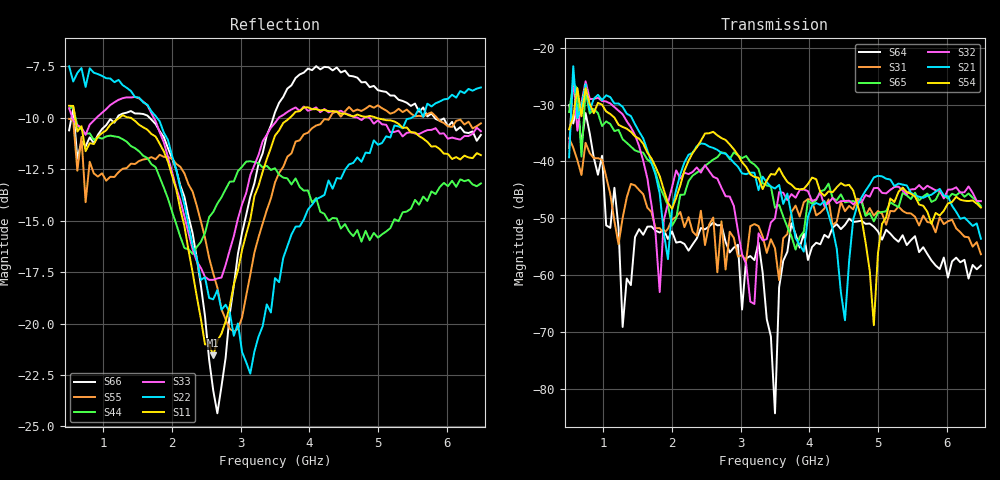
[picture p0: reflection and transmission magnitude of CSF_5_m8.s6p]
!Keysight Technologies,M9804A,MY58100912,A.14.10.03
!Date: Thursday, April 27, 2023 10:28:33
!Correction: S11(C  6-Port  )
!S12(C  6-Port  )
!S13(C  6-Port  )
!S14(C  6-Port  )
!S15(C  6-Port  )
!S16(C  6-Port  )
!S21(C  6-Port  )
!S22(C  6-Port  )
!S23(C  6-Port  )
!S24(C  6-Port  )
!S25(C  6-Port  )
!S26(C  6-Port  )
!S31(C  6-Port  )
!S32(C  6-Port  )
!S33(C  6-Port  )
!S34(C  6-Port  )
!S35(C  6-Port  )
!S36(C  6-Port  )
!S41(C  6-Port  )
!S42(C  6-Port  )
!S43(C  6-Port  )
!S44(C  6-Port  )
!S45(C  6-Port  )
!S46(C  6-Port  )
!S51(C  6-Port  )
!S52(C  6-Port  )
!S53(C  6-Port  )
!S54(C  6-Port  )
!S55(C  6-Port  )
!S56(C  6-Port  )
!S61(C  6-Port  )
!S62(C  6-Port  )
!S63(C  6-Port  )
!S64(C  6-Port  )
!S65(C  6-Port  )
!S66(C  6-Port  )
!S6P File: Measurement: :
# Hz S  RI  R 50
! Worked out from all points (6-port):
!   101 points, 500 MHz to 6.5 GHz, reference 50 ohm
!   strongest paths, dB at 500 MHz, 2 GHz, 3.5 GHz, 5 GHz, 6.5 GHz:
!     S54: -34.4, -48.3, -42.3, -56.1, -48.1
!     S21: -39.3, -48.3, -44.8, -42.5, -53.6
!     S32: -37.6, -44.5, -50.0, -44.7, -47.0
!     S65: -31.3, -51.3, -48.1, -49.1, -47.8
!     S31: -35.9, -50.2, -55.3, -48.7, -56.3
!     S64: -30.1, -52.3, -84.3, -52.3, -58.3
!   lowest |S11| = -21.5 dB at 2.6 GHz (marker M1), VSWR 1.18, Z = 42.5 + j2.1 ohm
!   |S11| at or under -10 dB: 587.8 MHz to 1.232 GHz (644.6 MHz wide, 70.8 % of centre); 1.398 GHz to 3.716 GHz (2.318 GHz wide, 90.7 % of centre); 4.975 GHz to end of sweep
